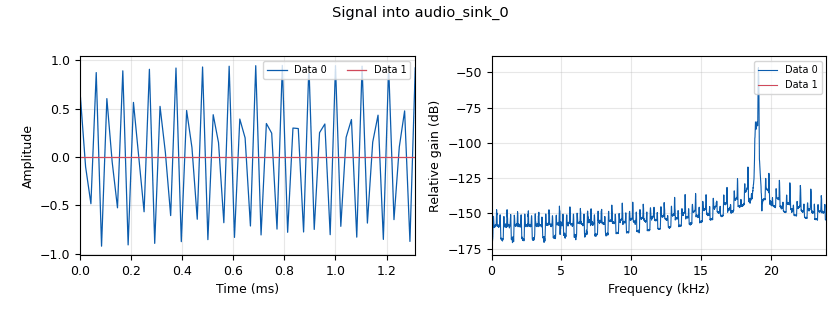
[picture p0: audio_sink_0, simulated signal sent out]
options:
  parameters:
    generate_options: qt_gui
    id: tx
    output_language: python
    title: Ultrasonic transmitter
  states: {}

blocks:
- name: freq
  id: variable
  parameters:
    value: '19000'
  states: {}
- name: interpolation
  id: variable
  parameters:
    value: '64'
  states: {}
- name: left_on
  id: variable_qtgui_check_box
  parameters:
    'false': '0'
    gui_hint: 0, 0, 1, 1
    label: Enable left speaker
    'true': '1'
    type: int
    value: '1'
  states: {}
- name: level
  id: variable_qtgui_range
  parameters:
    gui_hint: 1, 0, 1, 2
    label: Output level
    start: '0'
    step: '0.01'
    stop: '1'
    value: '0.95'
  states: {}
- name: right_on
  id: variable_qtgui_check_box
  parameters:
    'false': '0'
    gui_hint: 0, 1, 1, 1
    label: Enable right speaker
    'true': '1'
    type: int
    value: '0'
  states: {}
- name: samp_rate
  id: variable
  parameters:
    value: '48000'
  states: {}
- name: secret_message
  id: variable
  parameters:
    value: '"Hello world! flag{foo bar baz}"'
  states: {}
- name: sps
  id: variable
  parameters:
    value: '75'
  states: {}
- name: sync_word
  id: variable
  parameters:
    value: '[0xd3, 0x91]'
  states: {}
- name: audio_sink_0
  id: audio_sink
  parameters:
    num_inputs: '2'
    samp_rate: samp_rate
  states: {}
- name: blocks_complex_to_real_0
  id: blocks_complex_to_real
  parameters: {}
  states: {}
- name: blocks_multiply_const_vxx_0
  id: blocks_multiply_const_vxx
  parameters:
    const: left_on * level
    type: float
  states: {}
- name: blocks_multiply_const_vxx_1
  id: blocks_multiply_const_vxx
  parameters:
    const: right_on * level
    type: float
  states: {}
- name: blocks_packed_to_unpacked_xx_1
  id: blocks_packed_to_unpacked_xx
  parameters:
    bits_per_chunk: '1'
    endianness: gr.GR_MSB_FIRST
    type: byte
  states: {}
- name: blocks_rotator_cc_0
  id: blocks_rotator_cc
  parameters:
    phase_inc: freq * (2 * math.pi / samp_rate)
  states: {}
- name: blocks_vector_source_x_0
  id: blocks_vector_source_x
  parameters:
    repeat: 'True'
    type: byte
    vector: ([0b01010101] * 4) + sync_word + [ord(c) for c in secret_message + "\n"]
  states: {}
- name: digital_gfsk_mod_0
  id: digital_gfsk_mod
  parameters:
    bt: '1.0'
    do_unpack: 'False'
    samples_per_symbol: sps
    sensitivity: '1.0'
  states: {}
- name: import_0
  id: import
  parameters:
    imports: import math
  states: {}
- name: rational_resampler_xxx_0
  id: rational_resampler_xxx
  parameters:
    decim: '1'
    interp: interpolation
    type: ccc
  states: {}

connections:
- [blocks_complex_to_real_0, '0', blocks_multiply_const_vxx_0, '0']
- [blocks_complex_to_real_0, '0', blocks_multiply_const_vxx_1, '0']
- [blocks_multiply_const_vxx_0, '0', audio_sink_0, '0']
- [blocks_multiply_const_vxx_1, '0', audio_sink_0, '1']
- [blocks_packed_to_unpacked_xx_1, '0', digital_gfsk_mod_0, '0']
- [blocks_rotator_cc_0, '0', blocks_complex_to_real_0, '0']
- [blocks_vector_source_x_0, '0', blocks_packed_to_unpacked_xx_1, '0']
- [digital_gfsk_mod_0, '0', rational_resampler_xxx_0, '0']
- [rational_resampler_xxx_0, '0', blocks_rotator_cc_0, '0']

metadata:
  file_format: 1
